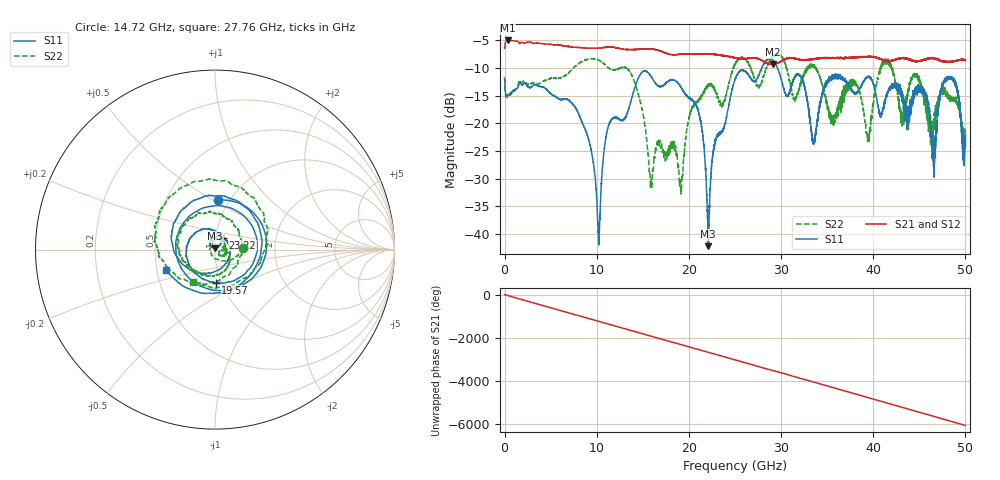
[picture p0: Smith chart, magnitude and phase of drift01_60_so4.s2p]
!Created with skrf (http://scikit-rf.org).
# Hz S RI R 50.0
!freq ReS11 ImS11 ReS21 ImS21 ReS12 ImS12 ReS22 ImS22
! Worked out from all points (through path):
!   10001 points, 300 kHz to 50 GHz, reference 50 ohm
!   highest |S21| = -5.05 dB at 360.3 MHz (marker M1); lowest = -9.4 dB at 29.08 GHz (marker M2)
!   group delay of S21, straight-line fit = 336 ps
!   lowest |S11| = -42.2 dB at 22.09 GHz (marker M3), VSWR 1.02, Z = 50 + j0.776 ohm
!   |S11| at or under -10 dB: start of sweep to 27.91 GHz; 29.6 GHz to end of sweep
!   |S22| runs from -32.8 to -7.4 dB; largest |S21 - S12| = 0.013
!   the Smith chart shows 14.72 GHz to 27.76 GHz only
!   S11 on the Smith chart (normalised r, x): 14.72 GHz: 0.89, +0.53; 19.57 GHz: 0.94, -0.36; 23.22 GHz: 1.08, +0.15; 27.76 GHz: 0.56, -0.14
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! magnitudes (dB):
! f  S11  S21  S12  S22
! 300 kHz  -11.9  -6.4  -6.5  -11.7
! 360.3 MHz  -14.9  -5.1  -5.1  -15.2
! 8.335 GHz  -19.5  -6.4  -6.3  -8.9
! 10.21 GHz  -41.5  -6.4  -6.4  -8.6
! 11.24 GHz  -20.6  -6.2  -6.2  -10.0
! 14.72 GHz  -11.2  -6.6  -6.6  -16.1
! 15.88 GHz  -11.6  -6.6  -6.6  -30.5
! 16.67 GHz  -13.3  -6.8  -6.8  -23.3
! 19.57 GHz  -14.7  -7.5  -7.5  -23.8
! 21.22 GHz  -19.3  -7.5  -7.5  -15.5
! 22.09 GHz  -42.2  -7.4  -7.5  -13.2
! 23.22 GHz  -21.9  -7.7  -7.6  -15.7
! 25 GHz  -12.1  -8.2  -8.2  -9.3
! 27.76 GHz  -10.6  -8.5  -8.6  -13.2
! 29.08 GHz  -8.6  -9.4  -9.4  -8.1
! 33.34 GHz  -22.5  -8.5  -8.4  -9.7
! 39.46 GHz  -11.5  -7.9  -8.0  -22.1
! 41.67 GHz  -13.8  -8.7  -8.7  -9.1
! 45.47 GHz  -13.9  -8.5  -8.5  -15.0
! 46.55 GHz  -27.8  -8.2  -8.2  -20.3
! 48.56 GHz  -12.0  -8.8  -8.8  -15.9
! 50 GHz  -24.2  -8.5  -8.6  -22.6
